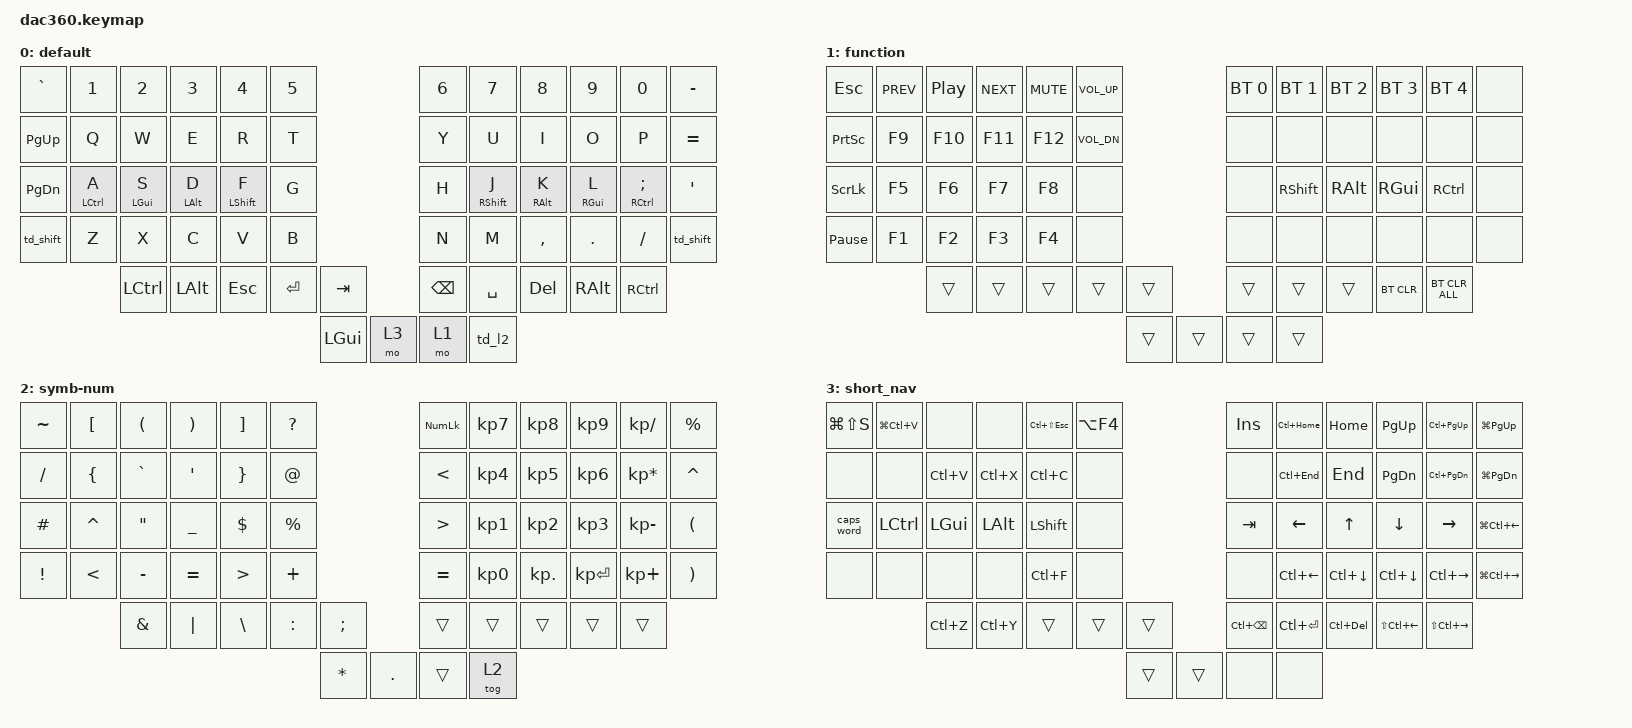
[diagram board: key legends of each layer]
#include <behaviors.dtsi>
#include <dt-bindings/zmk/bt.h>
#include <dt-bindings/zmk/keys.h>

#define DEFAULT 0
#define MAC     1
#define LOWER   2
#define RAISE   3
#define ADJUST  4

#define HYPER(key) LS(LC(LA(LG(key))))
#define MEH(key)   LS(LC(LA(key)))

&sl { release-after-ms = <5000>; };

&kscan0 {
    debounce-press-ms = <30>;
    debounce-release-ms = <30>;
};

/ {
    behaviors {
        td_shift: td_shift {
            compatible = "zmk,behavior-tap-dance";
            label = "TD_SHIFT";
            #binding-cells = <0>;
            bindings = <&kp LEFT_SHIFT>, <&caps_word>;
        };

        td_l2: td_l2 {
            compatible = "zmk,behavior-tap-dance";
            label = "TD_L2";
            #binding-cells = <0>;
            bindings = <&mo 2>, <&tog 2>;
        };

        lh_pht: lh_pht {
            compatible = "zmk,behavior-hold-tap";
            label = "left_positional_hold_tap";
            bindings = <&kp>, <&kp>;

            #binding-cells = <2>;
            tapping-term-ms = <200>;
            quick-tap-ms = <0>;
            flavor = "tap-unless-interrupted";
            hold-trigger-key-positions = <6 7 8 9 10 11 18 19 20 21 22 23 30 31 32 33 34 35 42 43 44 45 46 47 53 54 55 56 57 60 61>;
            require-prior-idle-ms = <150>;
        };

        rh_pht: rh_pht {
            compatible = "zmk,behavior-hold-tap";
            label = "right_hand_positional_hold_tap";
            bindings = <&kp>, <&kp>;

            #binding-cells = <2>;
            tapping-term-ms = <200>;
            quick-tap-ms = <0>;
            flavor = "tap-unless-interrupted";
            hold-trigger-key-positions = <0 1 2 3 4 5 12 13 14 15 16 17 24 25 26 27 28 29 36 37 38 39 40 41 48 49 50 51 52 58 59>;
            require-prior-idle-ms = <150>;
        };
    };

    keymap {
        compatible = "zmk,keymap";

        default {
            bindings = <
&kp GRAVE  &kp N1           &kp N2              &kp N3              &kp N4                &kp N5                                                         &kp N6   &kp N7                 &kp N8               &kp N9               &kp N0                   &kp MINUS
&kp PG_UP  &kp Q            &kp W               &kp E               &kp R                 &kp T                                                          &kp Y    &kp U                  &kp I                &kp O                &kp P                    &kp EQUAL
&kp PG_DN  &lh_pht LCTRL A  &lh_pht LEFT_GUI S  &lh_pht LEFT_ALT D  &lh_pht LEFT_SHIFT F  &kp G                                                          &kp H    &rh_pht RIGHT_SHIFT J  &rh_pht RIGHT_ALT K  &rh_pht RIGHT_GUI L  &rh_pht RCTRL SEMICOLON  &kp SQT
&td_shift  &kp Z            &kp X               &kp C               &kp V                 &kp B                                                          &kp N    &kp M                  &kp COMMA            &kp DOT              &kp FSLH                 &td_shift
                            &kp LCTRL           &kp LEFT_ALT                              &kp ESCAPE  &kp ENTER     &kp TAB    &kp BACKSPACE  &kp SPACE  &kp DEL                         &kp RIGHT_ALT        &kp RCTRL
                                                                                                      &kp LEFT_GUI  &mo 3      &mo 1          &td_l2
            >;
        };

        function {
            bindings = <
&kp ESC          &kp C_PREV  &kp C_PP  &kp C_NEXT  &kp C_MUTE  &kp C_VOL_UP                                    &bt BT_SEL 0  &bt BT_SEL 1  &bt BT_SEL 2  &bt BT_SEL 3    &bt BT_SEL 4  &none
&kp PRINTSCREEN  &kp F9      &kp F10   &kp F11     &kp F12     &kp C_VOL_DN                                    &none         &none         &none         &none           &none         &none
&kp SCROLLLOCK   &kp F5      &kp F6    &kp F7      &kp F8      &none                                           &none         &kp RSHFT     &kp RALT      &kp RGUI        &kp RCTRL     &none
&kp PAUSE_BREAK  &kp F1      &kp F2    &kp F3      &kp F4      &none                                           &none         &none         &none         &none           &none         &none
                             &trans    &trans                  &trans        &trans  &trans    &trans  &trans  &trans                      &bt BT_CLR    &bt BT_CLR_ALL
                                                                             &trans  &trans    &trans  &trans
            >;
        };

        symb-num {
            bindings = <
&kp TILDE  &kp LBKT        &kp LEFT_PARENTHESIS  &kp RIGHT_PARENTHESIS  &kp RBKT          &kp QUESTION                                                 &kp KP_NUMLOCK    &kp KP_NUMBER_7  &kp KP_N8        &kp KP_N9     &kp KP_DIVIDE    &kp PERCENT
&kp SLASH  &kp LEFT_BRACE  &kp GRAVE             &kp SQT                &kp RIGHT_BRACE   &kp AT_SIGN                                                  &kp LESS_THAN     &kp KP_N4        &kp KP_N5        &kp KP_N6     &kp KP_MULTIPLY  &kp CARET
&kp POUND  &kp CARET       &kp DQT               &kp UNDER              &kp DOLLAR        &kp PERCENT                                                  &kp GREATER_THAN  &kp KP_N1        &kp KP_NUMBER_2  &kp KP_N3     &kp KP_MINUS     &kp LEFT_PARENTHESIS
&kp EXCL   &kp LESS_THAN   &kp MINUS             &kp EQUAL              &kp GREATER_THAN  &kp PLUS                                                     &kp EQUAL         &kp KP_N0        &kp KP_DOT       &kp KP_ENTER  &kp KP_PLUS      &kp RIGHT_PARENTHESIS
                           &kp AMPERSAND         &kp PIPE                                 &kp BSLH      &kp COLON     &kp SEMICOLON    &trans  &trans  &trans                             &trans           &trans
                                                                                                        &kp ASTERISK  &kp PERIOD       &trans  &tog 2
            >;
        };

        short_nav {
            bindings = <
&kp LG(LS(S))  &kp LG(LC(V))  &none      &none      &kp LC(LS(ESCAPE))  &kp LA(F4)                                                      &kp INSERT   &kp LC(HOME)  &kp HOME                &kp PG_UP          &kp LC(PG_UP)  &kp LG(PG_UP)
&none          &none          &kp LC(V)  &kp LC(X)  &kp LC(C)           &none                                                           &none        &kp LC(END)   &kp END                 &kp PG_DN          &kp LC(PG_DN)  &kp LG(PAGE_DOWN)
&caps_word     &kp LCTRL      &kp LGUI   &kp LALT   &kp LSHIFT          &none                                                           &kp TAB      &kp LEFT      &kp UP                  &kp DOWN_ARROW     &kp RIGHT      &kp LG(LC(LEFT))
&none          &none          &none      &none      &kp LC(F)           &none                                                           &none        &kp LC(LEFT)  &kp LC(DOWN)            &kp LC(DOWN)       &kp LC(RIGHT)  &kp LG(LC(RIGHT))
                              &kp LC(Z)  &kp LC(Y)                      &trans      &trans  &trans    &kp LC(BACKSPACE)  &kp LC(ENTER)  &kp LC(DEL)                &kp LS(LC(LEFT_ARROW))  &kp LS(LC(RIGHT))
                                                                                    &trans  &trans    &none              &none
            >;
        };
    };
};
